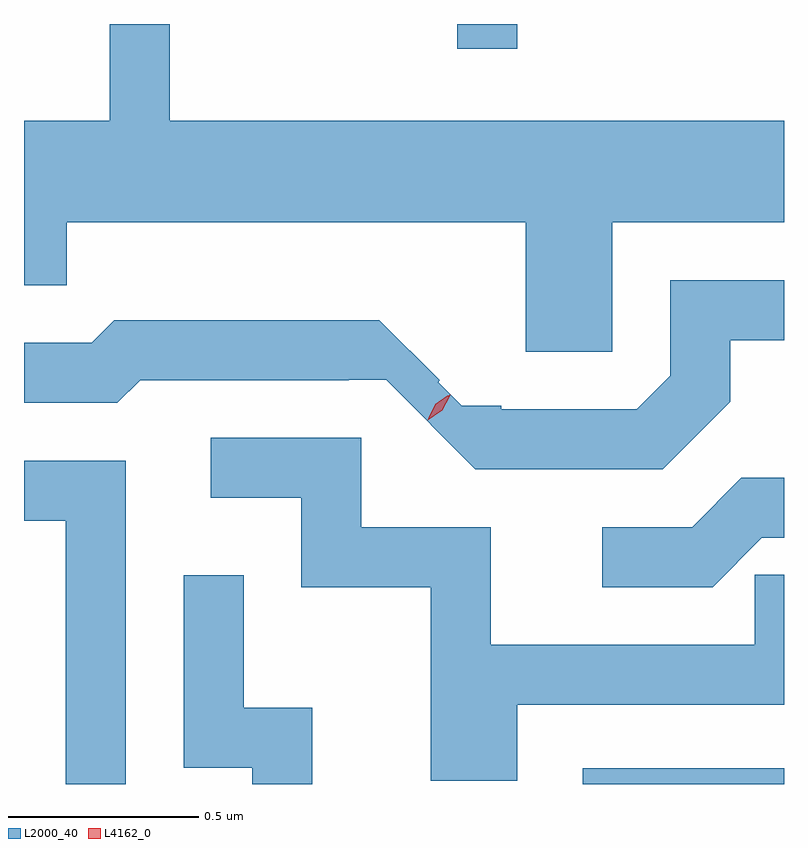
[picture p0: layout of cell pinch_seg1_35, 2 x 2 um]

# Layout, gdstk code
import gdstk
lib = gdstk.Library(unit=1e-6, precision=1e-09)
def R(c, l, rs):  # rectangles x0, y0, x1, y1
    for r in rs: c.add(gdstk.rectangle(r[:2], r[2:], *l))
def P(c, l, *ps):  # polygons
    for p in ps: c.add(gdstk.Polygon(p, *l))
L2000_40 = (2000, 40)
L4162_0 = (4162, 0)

pinch_seg1_35 = lib.new_cell('pinch_seg1_35')
R(pinch_seg1_35, L2000_40, [(1860.241,882.558,1860.771,882.599), (1859.911,884.493,1860.069,884.558)])
P(pinch_seg1_35, L2000_40, [(1860.319,884.036),(1860.771,884.036),(1860.771,884.304),(1859.154,884.304),(1859.154,884.558),(1858.996,884.558),(1858.996,884.304),(1858.771,884.304),(1858.771,883.871),(1858.884,883.871),(1858.884,884.036),(1860.091,884.036),(1860.091,883.696),(1860.319,883.696)],
  [(1860.629,883.564),(1860.629,883.726),(1860.771,883.726),(1860.771,883.884),(1860.471,883.884),(1860.471,883.632),(1860.384,883.544),(1860.027,883.544),(1860.027,883.553),(1859.923,883.553),(1859.861,883.615),(1859.865,883.62),(1859.706,883.779),(1859.009,883.779),(1858.949,883.719),(1858.771,883.719),(1858.771,883.561),(1859.017,883.561),(1859.077,883.621),(1859.625,883.621),(1859.625,883.622),(1859.724,883.622),(1859.959,883.386),(1860.452,883.386)],
  [(1860.069,882.766),(1860.771,882.766),(1860.771,883.109),(1860.694,883.109),(1860.694,882.924),(1859.999,882.924),(1859.999,883.234),(1859.659,883.234),(1859.659,883.469),(1859.263,883.469),(1859.263,883.311),(1859.501,883.311),(1859.501,883.076),(1859.841,883.076),(1859.841,882.566),(1860.069,882.566)],
  [(1859.039,883.409),(1858.771,883.409),(1858.771,883.251),(1858.881,883.251),(1858.881,882.558),(1859.039,882.558)],
  [(1860.713,883.206),(1860.771,883.206),(1860.771,883.364),(1860.659,883.364),(1860.529,883.234),(1860.293,883.234),(1860.293,883.076),(1860.583,883.076)],
  [(1859.529,882.759),(1859.349,882.759),(1859.349,883.108),(1859.191,883.108),(1859.191,882.601),(1859.371,882.601),(1859.371,882.558),(1859.529,882.558)])
P(pinch_seg1_35, L4162_0, [(1859.836,883.521),(1859.836,883.522),(1859.853,883.557),(1859.885,883.58),(1859.886,883.58),(1859.886,883.579),(1859.868,883.544),(1859.836,883.521)],
  [(1859.834,883.515),(1859.834,883.516),(1859.856,883.555),(1859.892,883.582),(1859.893,883.582),(1859.893,883.581),(1859.871,883.542),(1859.834,883.515)])

lib.write_gds('pinch_seg1_35.gds')
